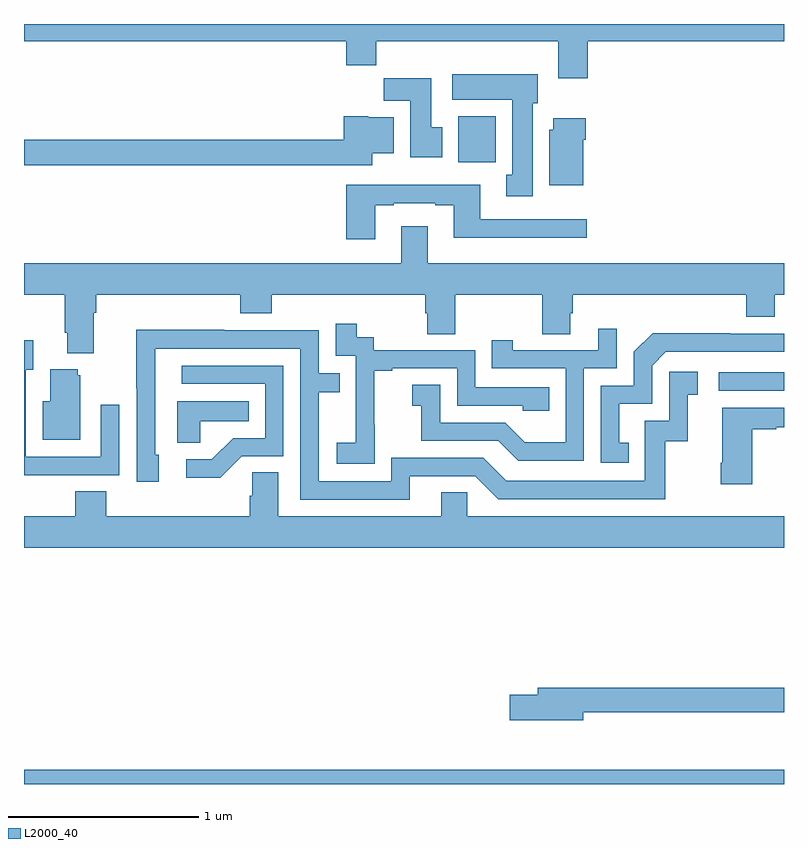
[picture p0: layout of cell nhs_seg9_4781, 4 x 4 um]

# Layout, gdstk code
import gdstk
lib = gdstk.Library(unit=1e-6, precision=1e-09)
def R(c, l, rs):  # rectangles x0, y0, x1, y1
    for r in rs: c.add(gdstk.rectangle(r[:2], r[2:], *l))
def P(c, l, *ps):  # polygons
    for p in ps: c.add(gdstk.Polygon(p, *l))
L2000_40 = (2000, 40)

nhs_seg9_4781 = lib.new_cell('nhs_seg9_4781')
R(nhs_seg9_4781, L2000_40, [(387,1204.5,391,1204.576), (390.657,1206.57,391,1206.666), (389.285,1207.772,389.482,1208.014)])
P(nhs_seg9_4781, L2000_40, [(389.966,1208.408),(391,1208.408),(391,1208.5),(387,1208.5),(387,1208.408),(388.697,1208.408),(388.697,1208.284),(388.853,1208.284),(388.853,1208.408),(389.813,1208.408),(389.813,1208.214),(389.966,1208.214)],
  [(389.677,1208.082),(389.704,1208.082),(389.704,1208.236),(389.253,1208.236),(389.253,1208.102),(389.57,1208.102),(389.57,1207.706),(389.537,1207.706),(389.537,1207.593),(389.677,1207.593)],
  [(389.2,1207.956),(389.143,1207.956),(389.143,1208.215),(388.894,1208.215),(388.894,1208.096),(389.033,1208.096),(389.033,1207.8),(389.2,1207.8)],
  [(388.834,1207.82),(388.945,1207.82),(388.945,1208.008),(388.812,1208.008),(388.812,1208.014),(388.682,1208.014),(388.682,1207.892),(387,1207.892),(387,1207.756),(388.834,1207.756)],
  [(389.944,1207.892),(389.957,1207.892),(389.957,1208.005),(389.786,1208.005),(389.786,1207.944),(389.765,1207.944),(389.765,1207.652),(389.944,1207.652)],
  [(388.849,1207.545),(388.945,1207.545),(388.945,1207.557),(389.165,1207.557),(389.165,1207.545),(389.261,1207.545),(389.261,1207.376),(389.962,1207.376),(389.962,1207.473),(389.401,1207.473),(389.401,1207.654),(388.697,1207.654),(388.697,1207.368),(388.849,1207.368)],
  [(387.367,1206.98),(387.38,1206.98),(387.38,1207.076),(388.139,1207.076),(388.139,1206.977),(388.304,1206.977),(388.304,1207.076),(389.111,1207.076),(389.111,1206.978),(389.123,1206.978),(389.123,1206.868),(389.271,1206.868),(389.271,1207.076),(389.728,1207.076),(389.728,1206.868),(389.875,1206.868),(389.875,1206.978),(389.888,1206.978),(389.888,1207.076),(390.8,1207.076),(390.8,1206.959),(390.952,1206.959),(390.952,1207.076),(391,1207.076),(391,1207.24),(389.125,1207.24),(389.125,1207.435),(388.985,1207.435),(388.985,1207.24),(387,1207.24),(387,1207.076),(387.215,1207.076),(387.215,1206.874),(387.227,1206.874),(387.227,1206.767),(387.367,1206.767)],
  [(388.845,1206.391),(388.844,1206.391),(388.844,1206.675),(388.939,1206.675),(388.939,1206.687),(389.28,1206.687),(389.28,1206.492),(389.625,1206.492),(389.625,1206.465),(389.765,1206.465),(389.765,1206.588),(389.376,1206.588),(389.376,1206.783),(388.842,1206.783),(388.842,1206.852),(388.75,1206.852),(388.75,1206.922),(388.641,1206.922),(388.641,1206.753),(388.746,1206.753),(388.746,1206.524),(388.745,1206.524),(388.745,1206.295),(388.647,1206.295),(388.647,1206.185),(388.845,1206.185)],
  [(389.946,1206.687),(390.12,1206.687),(390.12,1206.895),(390.023,1206.895),(390.023,1206.783),(389.572,1206.783),(389.572,1206.835),(389.461,1206.835),(389.461,1206.687),(389.85,1206.687),(389.85,1206.298),(389.636,1206.298),(389.532,1206.402),(389.19,1206.402),(389.19,1206.601),(389.043,1206.601),(389.043,1206.491),(389.092,1206.491),(389.092,1206.306),(389.495,1206.306),(389.6,1206.201),(389.946,1206.201)],
  [(389.029,1206.12),(389.376,1206.12),(389.496,1206),(390.376,1206),(390.376,1206.303),(390.494,1206.303),(390.494,1206.549),(390.547,1206.549),(390.547,1206.67),(390.396,1206.67),(390.396,1206.411),(390.267,1206.411),(390.267,1206.096),(389.538,1206.096),(389.418,1206.216),(388.932,1206.216),(388.932,1206.093),(388.551,1206.093),(388.551,1206.562),(388.661,1206.562),(388.661,1206.663),(388.551,1206.663),(388.551,1206.888),(388.055,1206.888),(388.055,1206.89),(387.592,1206.89),(387.592,1206.583),(387.594,1206.583),(387.594,1206.09),(387.709,1206.09),(387.709,1206.234),(387.69,1206.234),(387.69,1206.792),(388.455,1206.792),(388.455,1205.997),(389.029,1205.997)],
  [(390.182,1206.297),(390.133,1206.297),(390.133,1206.501),(390.306,1206.501),(390.306,1206.702),(390.378,1206.774),(391,1206.774),(391,1206.87),(390.716,1206.87),(390.716,1206.872),(390.308,1206.872),(390.21,1206.774),(390.21,1206.597),(390.036,1206.597),(390.036,1206.192),(390.182,1206.192)],
  [(387.185,1206.126),(387.501,1206.126),(387.501,1206.496),(387.405,1206.496),(387.405,1206.222),(387.009,1206.222),(387.009,1206.679),(387.049,1206.679),(387.049,1206.835),(387,1206.835),(387,1206.125),(387.185,1206.125)],
  [(388.146,1206.225),(388.365,1206.225),(388.365,1206.702),(387.831,1206.702),(387.831,1206.606),(388.269,1206.606),(388.269,1206.321),(388.1,1206.321),(387.989,1206.21),(387.855,1206.21),(387.855,1206.113),(388.033,1206.113)],
  [(387.295,1206.651),(387.284,1206.651),(387.284,1206.682),(387.137,1206.682),(387.137,1206.514),(387.098,1206.514),(387.098,1206.311),(387.295,1206.311)],
  [(387.927,1206.41),(388.184,1206.41),(388.184,1206.514),(387.806,1206.514),(387.806,1206.295),(387.927,1206.295)],
  [(390.832,1206.367),(390.959,1206.367),(390.959,1206.377),(391,1206.377),(391,1206.481),(390.674,1206.481),(390.674,1206.19),(390.667,1206.19),(390.667,1206.078),(390.832,1206.078)],
  [(391,1205.908),(389.334,1205.908),(389.334,1206.035),(389.195,1206.035),(389.195,1205.908),(388.339,1205.908),(388.339,1206.14),(388.2,1206.14),(388.2,1206.017),(388.187,1206.017),(388.187,1205.908),(387.434,1205.908),(387.434,1206.041),(387.269,1206.041),(387.269,1205.908),(387,1205.908),(387,1205.744),(391,1205.744)],
  [(389.944,1204.878),(391,1204.878),(391,1205.006),(389.705,1205.006),(389.705,1204.97),(389.556,1204.97),(389.556,1204.835),(389.944,1204.835)])

lib.write_gds('nhs_seg9_4781.gds')
